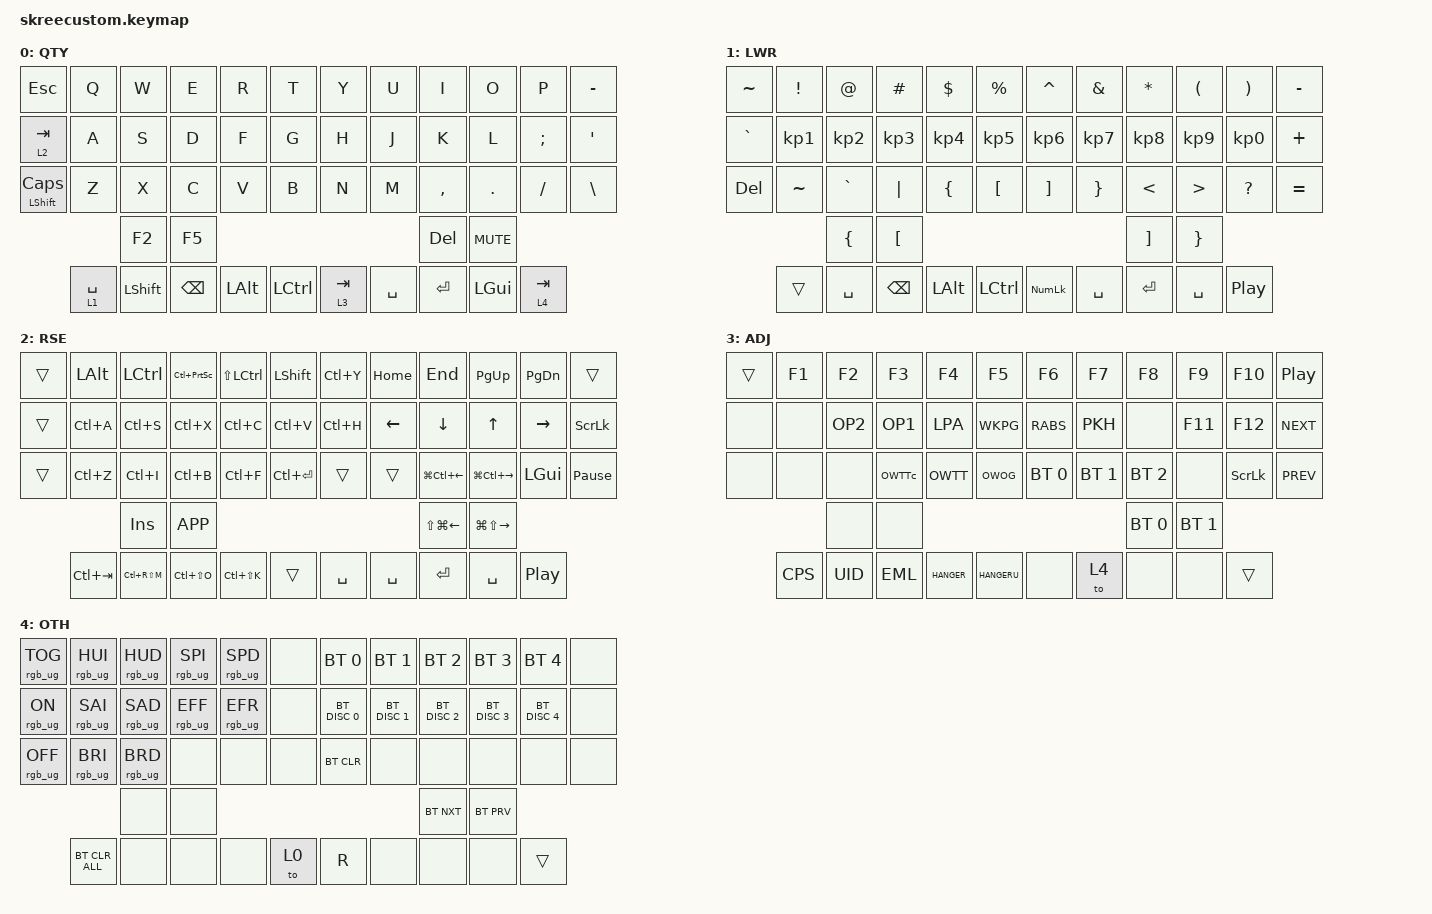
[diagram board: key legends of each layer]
/*
 * Copyright (c) 2020 The ZMK Contributors
 *
 * SPDX-License-Identifier: MIT
 */

//#include <behaviors/mouse_keys.dtsi>
#include <behaviors.dtsi>
#include <dt-bindings/zmk/bt.h>
#include <dt-bindings/zmk/keys.h>
#include <dt-bindings/zmk/rgb.h>
#include <dt-bindings/zmk/behaviors.h>

/ {
    behaviors {
        tog_on: toggle_layer_on_only {
            compatible = "zmk,behavior-toggle-layer";
            #binding-cells = <1>;
            display-name = "Toggle Layer On";
            toggle-mode = "on";
        };
        tog_off: toggle_layer_off_only {
            compatible = "zmk,behavior-toggle-layer";
            #binding-cells = <1>;
            display-name = "Toggle Layer Off";
            toggle-mode = "off";
        };
        r_lt: layer_tap {
            compatible = "zmk,behavior-hold-tap";
            #binding-cells = <2>;
            flavor = "tap-preferred";
            tapping-term-ms = <150>;
            bindings = <&mo>, <&kp>;
            display-name = "Layer-Tap";
        };
        r_mt: mod_tap {
            compatible = "zmk,behavior-hold-tap";
            #binding-cells = <2>;
            flavor = "hold-preferred";
            tapping-term-ms = <150>;
            bindings = <&kp>, <&kp>;
            display-name = "Mod-Tap";
        };    
    };
};

/ {
    combos { compatible = "zmk,combos"; };

    macros {
        CPS: CPS {
            compatible = "zmk,behavior-macro";
            #binding-cells = <0>;
            bindings = <&kp M &kp A &kp C &kp H &kp I &kp N &kp E &kp D &kp O &kp N &kp T &kp S &kp T &kp O &kp LS(P) &kp POUND &kp N5>;
            label = "CPS";
        };

        RABS: RABS {
            compatible = "zmk,behavior-macro";
            #binding-cells = <0>;
            bindings = <&kp R &kp A &kp B &kp S &kp C &kp U &kp T &kp L &kp E>;
            label = "RABS";
        };

        PKH: PKH {
            compatible = "zmk,behavior-macro";
            #binding-cells = <0>;
            bindings = <&kp P &kp K &kp H &kp T &kp E &kp X &kp A &kp S &kp AT &kp Y &kp A &kp H &kp O &kp O &kp DOT &kp C &kp O &kp M>;
            label = "PKH";
        };

        UID: UID {
            compatible = "zmk,behavior-macro";
            #binding-cells = <0>;
            bindings = <&kp S &kp N0 &kp N0 &kp N9 &kp N8 &kp N6 &kp N6>;
            label = "UID";
        };
                           
        EML: EML {
            compatible = "zmk,behavior-macro";
            #binding-cells = <0>;
            bindings = <&kp P &kp A &kp T &kp R &kp I &kp C &kp K &kp DOT &kp H &kp E &kp N &kp S &kp O &kp N &kp AT &kp S &kp T &kp A &kp N &kp D &kp A &kp R &kp D &kp DOT &kp C &kp O &kp M>;
            label = "EML";
        };

        HANGER: HANGER {
            compatible = "zmk,behavior-macro";
            #binding-cells = <0>;
            bindings = <&kp Y &kp LS(O) &kp DLLR &kp D &kp N0 &kp LS(N) &kp LS(T) &kp N &kp N3 &kp POUND &kp LS(D) &kp UNDER &kp H &kp LS(A) &kp LS(T) &kp N2 &kp LS(B) &kp A &kp C &kp N0 &kp LS(W) &kp LS(B) &kp N0 &kp LS(Y)>;
            label = "HANGER";
        };

        HANGERU: HANGERU {
            compatible = "zmk,behavior-macro";
            #binding-cells = <0>;
            bindings = <&kp LS(Y) &kp O &kp DLLR &kp LS(D) &kp N0 &kp N &kp T &kp LS(N) &kp N3 &kp POUND &kp D &kp UNDER &kp LS(H) &kp A &kp T &kp N2 &kp B &kp LS(A) &kp LS(C) &kp N0 &kp W &kp B &kp N0 &kp Y>;
            label = "HANGERU";
        };

        WKPG: WKPG {
            compatible = "zmk,behavior-macro";
            #binding-cells = <0>;
            bindings = <&kp W &kp E &kp N3 &kp K &kp N8 &kp P &kp AT &kp U &kp G>;
            label = "WKPG";
        };

        OP1: OP1 {
            compatible = "zmk,behavior-macro";
            #binding-cells = <0>;
            bindings = <&kp N &kp I &kp N &kp E &kp T &kp H &kp R &kp E &kp E &kp F &kp O &kp U &kp R &kp T &kp E &kp LS(X) &kp A &kp S &kp POUND &kp N2 &kp N1>;
            label = "OP1";
        };

        OP2: OP2 {
            compatible = "zmk,behavior-macro";
            #binding-cells = <0>;
            bindings = <&kp Y &kp O &kp U &kp K &kp N &kp O &kp W &kp F &kp O &kp R &kp LS(K) &kp I &kp D &kp S &kp DLLR &kp N2>;
            label = "OP2";
        };

        LPA: LPA {
            compatible = "zmk,behavior-macro";
            #binding-cells = <0>;
            bindings = <&kp I &kp M &kp H &kp U &kp N &kp T &kp I &kp N &kp G &kp W &kp A &kp B &kp B &kp I &kp T &kp LS(S) &kp DLLR &kp N2>;
            label = "LPA";
        };

        OWTTc: OWTTc {
            compatible = "zmk,behavior-macro";
            #binding-cells = <0>;
            bindings = <&kp N0 &kp LS(T) &kp LS(H) &kp N3 &kp R &kp W &kp N0 &kp LS(R) &kp LS(L) &kp LS(D) &kp DLLR &kp T &kp LS(H) &kp LS(A) &kp LS(N) &kp T &kp LS(H) &kp POUND &kp LS(S) &kp N3>;
            label = "OWTTc";
        };

        OWTT: OWTT {
            compatible = "zmk,behavior-macro";
            #binding-cells = <0>;
            bindings = <&kp N0 &kp T &kp H &kp N3 &kp LS(R) &kp LS(W) &kp N0 &kp R &kp L &kp D &kp DLLR &kp LS(T) &kp H &kp A &kp N &kp LS(T) &kp H &kp POUND &kp S &kp N3>;
            label = "OWTT";
        };

        OWOG: OWOG {
            compatible = "zmk,behavior-macro";
            #binding-cells = <0>;
            bindings = <&kp N0 &kp T &kp H &kp N3 &kp LS(R) &kp LS(W) &kp N0 &kp R &kp L &kp D &kp DLLR>;
            label = "OWOG";
        };
    };
};

// Set Layers with a number equivilant for easier keymap
# define QTY 1
# define LWR 2
# define RSE 3
# define ADJ 4
# define OTH 5

/ {
    keymap {
        compatible = "zmk,keymap";

        QTY {
            bindings = <
                &kp ESC             &kp Q           &kp W       &kp E       &kp R       &kp T       &kp Y       &kp U       &kp I      &kp O       &kp P        &kp MINUS
                &r_lt 2 TAB         &kp A           &kp S       &kp D       &kp F       &kp G       &kp H       &kp J       &kp K      &kp L       &kp SEMI     &kp APOS
                &r_mt LSHIFT CAPS   &kp Z           &kp X       &kp C       &kp V       &kp B       &kp N       &kp M       &kp COMMA  &kp DOT     &kp FSLH     &kp BSLH
                                                    &kp F2      &kp F5                                                      &kp DEL    &kp C_MUTE
                                    &r_lt 1 SPACE   &kp LSHFT   &kp BSPC    &kp LALT    &kp LCTRL   &r_lt 3 TAB &kp SPACE   &kp ENTER  &kp LGUI    &r_lt 4 TAB
            >;
        };

        LWR {
            bindings = <
                &kp TILDE       &kp EXCL    &kp AT      &kp POUND   &kp DLLR    &kp PRCNT   &kp CARET   &kp AMPS    &kp STAR    &kp LPAR    &kp RPAR    &kp MINUS
                &kp GRAVE       &kp KP_N1   &kp KP_N2   &kp KP_N3   &kp KP_N4   &kp KP_N5   &kp KP_N6   &kp KP_N7   &kp KP_N8   &kp KP_N9   &kp KP_N0   &kp PLUS
                &kp DEL         &kp TILDE   &kp GRAVE   &kp PIPE    &kp LBRC    &kp LBKT    &kp RBKT    &kp RBRC    &kp LT      &kp GT      &kp QMARK   &kp EQUAL
                                            &kp LBRC    &kp LBKT                                                    &kp RBKT    &kp RBRC
                                &trans      &kp SPACE   &kp BSPC    &kp LALT    &kp LCTRL   &kp KP_NUM  &kp SPACE   &kp ENTER   &kp SPACE   &kp C_PP
            >;
        };

        RSE {
            bindings = <
                &trans          &kp LALT    &kp LCTRL       &kp LC(PSCRN)   &kp LS(LCTRL)  &kp LSHFT    &kp LC(Y)       &kp HOME        &kp END             &kp PG_UP           &kp PG_DN   &trans
                &trans          &kp LC(A)   &kp LC(S)       &kp LC(X)       &kp LC(C)      &kp LC(V)    &kp LC(H)       &kp LEFT        &kp DOWN            &kp UP              &kp RIGHT   &kp SLCK
                &trans          &kp LC(Z)   &kp LC(I)       &kp LC(B)       &kp LC(F)      &kp LC(RET)  &trans          &trans          &kp LG(LC(LEFT))    &kp LG(LC(RIGHT))   &kp LGUI    &kp PAUSE_BREAK
                                            &kp INS         &kp K_APP                                                                   &kp LS(LG(LEFT))    &kp LG(LS(RIGHT))
                                &kp LC(TAB) &kp LC(RS(M))   &kp LC(LS(O))   &kp LC(LS(K))  &trans       &kp SPACE       &kp SPACE       &kp ENTER           &kp SPACE           &kp C_PP
            >;
        };

        ADJ {   
            bindings = <
                &trans          &kp F1      &kp F2      &kp F3      &kp F4      &kp F5      &kp F6          &kp F7          &kp F8          &kp F9  &kp F10     &kp C_PP
                &none           &none       &OP2        &OP1        &LPA        &WKPG       &RABS           &PKH            &none           &kp F11 &kp F12     &kp C_NEXT
                &none           &none       &none       &OWTTc      &OWTT       &OWOG       &bt BT_SEL 0    &bt BT_SEL 1    &bt BT_SEL 2    &none   &kp SLCK    &kp C_PREV
                                            &none       &none                                               &bt BT_SEL 0    &bt BT_SEL 1
                                &CPS        &UID        &EML        &HANGER     &HANGERU    &none           &to 4           &none           &none           &trans
            >;
        };

        OTH {
            bindings = <
                &rgb_ug RGB_TOG &rgb_ug RGB_HUI &rgb_ug RGB_HUD &rgb_ug RGB_SPI &rgb_ug RGB_SPD &none       &bt BT_SEL 0    &bt BT_SEL 1    &bt BT_SEL 2    &bt BT_SEL 3    &bt BT_SEL 4    &none       
                &rgb_ug RGB_ON  &rgb_ug RGB_SAI &rgb_ug RGB_SAD &rgb_ug RGB_EFF &rgb_ug RGB_EFR &none       &bt BT_DISC 0   &bt BT_DISC 1   &bt BT_DISC 2   &bt BT_DISC 3   &bt BT_DISC 4   &none    
                &rgb_ug RGB_OFF &rgb_ug RGB_BRI &rgb_ug RGB_BRD &none           &none           &none       &bt BT_CLR      &none           &none           &none           &none           &none       
                                                &none           &none                                                                       &bt BT_NXT      &bt BT_PRV
                                &bt BT_CLR_ALL  &none           &none           &none           &to 0       &kp R           &none           &none           &none           &trans       
            >;
        };

    };
};
